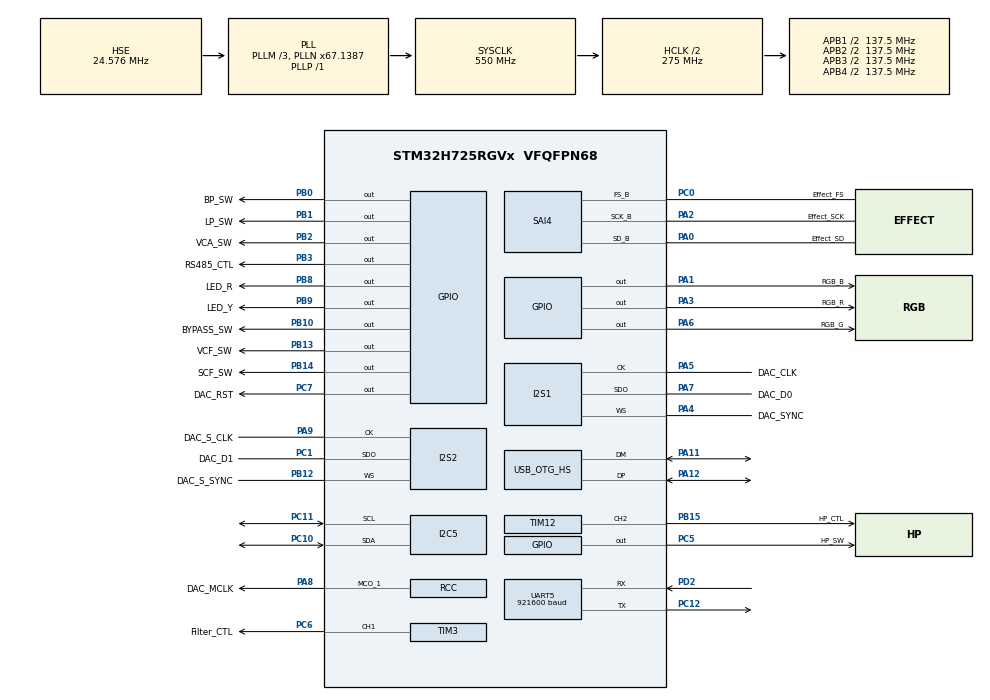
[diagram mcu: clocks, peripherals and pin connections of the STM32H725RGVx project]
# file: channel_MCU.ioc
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CORTEX_M7.default_mode_Activation=1
Dma.Request0=SPI1_TX
Dma.Request1=SPI2_TX
Dma.SPI1_TX.0.Direction=DMA_MEMORY_TO_PERIPH
Dma.SPI1_TX.0.EventEnable=DISABLE
Dma.SPI1_TX.0.FIFOMode=DMA_FIFOMODE_DISABLE
Dma.SPI1_TX.0.Instance=DMA1_Stream0
Dma.SPI1_TX.0.MemDataAlignment=DMA_MDATAALIGN_WORD
Dma.SPI1_TX.0.MemInc=DMA_MINC_ENABLE
Dma.SPI1_TX.0.Mode=DMA_CIRCULAR
Dma.SPI1_TX.0.PeriphDataAlignment=DMA_PDATAALIGN_WORD
Dma.SPI1_TX.0.PeriphInc=DMA_PINC_DISABLE
Dma.SPI1_TX.0.Polarity=HAL_DMAMUX_REQ_GEN_RISING
Dma.SPI1_TX.0.Priority=DMA_PRIORITY_LOW
Dma.SPI1_TX.0.RequestNumber=1
Dma.SPI1_TX.0.SignalID=NONE
Dma.SPI1_TX.0.SyncEnable=DISABLE
Dma.SPI1_TX.0.SyncPolarity=HAL_DMAMUX_SYNC_NO_EVENT
Dma.SPI1_TX.0.SyncRequestNumber=1
Dma.SPI1_TX.0.SyncSignalID=NONE
Dma.SPI2_TX.1.Direction=DMA_MEMORY_TO_PERIPH
Dma.SPI2_TX.1.EventEnable=DISABLE
Dma.SPI2_TX.1.FIFOMode=DMA_FIFOMODE_DISABLE
Dma.SPI2_TX.1.Instance=DMA1_Stream1
Dma.SPI2_TX.1.MemDataAlignment=DMA_MDATAALIGN_WORD
Dma.SPI2_TX.1.MemInc=DMA_MINC_ENABLE
Dma.SPI2_TX.1.Mode=DMA_CIRCULAR
Dma.SPI2_TX.1.PeriphDataAlignment=DMA_PDATAALIGN_WORD
Dma.SPI2_TX.1.PeriphInc=DMA_PINC_DISABLE
Dma.SPI2_TX.1.Polarity=HAL_DMAMUX_REQ_GEN_RISING
Dma.SPI2_TX.1.Priority=DMA_PRIORITY_LOW
Dma.SPI2_TX.1.RequestNumber=1
Dma.SPI2_TX.1.SignalID=NONE
Dma.SPI2_TX.1.SyncEnable=DISABLE
Dma.SPI2_TX.1.SyncPolarity=HAL_DMAMUX_SYNC_NO_EVENT
Dma.SPI2_TX.1.SyncRequestNumber=1
Dma.SPI2_TX.1.SyncSignalID=NONE
I2C5.Timing=0x60404E72
I2S1.AudioFreq=I2S_AUDIOFREQ_48K
I2S1.DataFormat=I2S_DATAFORMAT_32B
I2S1.ErrorAudioFreq=0.0 %
I2S1.Instance=SPI$Index
I2S1.RealAudioFreq=48.0 KHz
I2S2.AudioFreq=I2S_AUDIOFREQ_48K
I2S2.DataFormat=I2S_DATAFORMAT_32B
I2S2.ErrorAudioFreq=0.0 %
I2S2.Instance=SPI$Index
I2S2.RealAudioFreq=48.0 KHz
Mcu.Family=STM32H7
Mcu.Name=STM32H725RGVx
Mcu.Package=VFQFPN68
NVIC.DMA1_Stream0_IRQn=true\:0\:0\:false\:false\:true\:false\:true\:true
NVIC.DMA1_Stream1_IRQn=true\:0\:0\:false\:false\:true\:false\:true\:true
NVIC.OTG_HS_IRQn=true\:0\:0\:false\:false\:true\:true\:true\:true
NVIC.PriorityGroup=NVIC_PRIORITYGROUP_4
PA0.GPIO_Label=Effect_SD
PA0.Mode=SAI_B_AsyncSlave
PA0.Signal=SAI4_SD_B
PA1.GPIO_Label=RGB_B
PA1.Signal=GPIO_Output
PA11.Mode=Device_Only_FS
PA11.Signal=USB_OTG_HS_DM
PA12.Mode=Device_Only_FS
PA12.Signal=USB_OTG_HS_DP
PA2.GPIO_Label=Effect_SCK
PA2.Mode=SAI_B_AsyncSlave
PA2.Signal=SAI4_SCK_B
PA3.GPIO_Label=RGB_R
PA3.Signal=GPIO_Output
PA4.GPIO_Label=DAC_SYNC
PA4.GPIO_Speed=GPIO_SPEED_FREQ_HIGH
PA4.Mode=Half_Duplex_Master_Tx
PA4.Signal=I2S1_WS
PA5.GPIO_Label=DAC_CLK
PA5.GPIO_Speed=GPIO_SPEED_FREQ_HIGH
PA5.Mode=Half_Duplex_Master_Tx
PA5.Signal=I2S1_CK
PA6.GPIO_Label=RGB_G
PA6.Signal=GPIO_Output
PA7.GPIO_Label=DAC_D0
PA7.GPIO_Speed=GPIO_SPEED_FREQ_HIGH
PA7.Mode=Half_Duplex_Master_Tx
PA7.Signal=I2S1_SDO
PA8.GPIO_Label=DAC_MCLK
PA8.GPIO_Speed=GPIO_SPEED_FREQ_VERY_HIGH
PA8.Mode=Clock-out-1
PA8.Signal=RCC_MCO_1
PA9.GPIO_Label=DAC_S_CLK
PA9.Mode=Half_Duplex_Slave_Tx
PA9.Signal=I2S2_CK
PB0.GPIO_Label=BP_SW
PB0.Signal=GPIO_Output
PB1.GPIO_Label=LP_SW
PB1.Signal=GPIO_Output
PB10.GPIO_Label=BYPASS_SW
PB10.Signal=GPIO_Output
PB12.GPIO_Label=DAC_S_SYNC
PB12.Mode=Half_Duplex_Slave_Tx
PB12.Signal=I2S2_WS
PB13.GPIO_Label=VCF_SW
PB13.Signal=GPIO_Output
PB14.GPIO_Label=SCF_SW
PB14.Signal=GPIO_Output
PB15.GPIO_Label=HP_CTL
PB15.Signal=S_TIM12_CH2
PB2.GPIO_Label=VCA_SW
PB2.Signal=GPIO_Output
PB3(JTDO/TRACESWO).GPIO_Label=RS485_CTL
PB3(JTDO/TRACESWO).Signal=GPIO_Output
PB8.GPIO_Label=LED_R
PB8.Signal=GPIO_Output
PB9.GPIO_Label=LED_Y
PB9.Signal=GPIO_Output
PC0.GPIO_Label=Effect_FS
PC0.Mode=SAI_B_AsyncSlave
PC0.Signal=SAI4_FS_B
PC1.GPIO_Label=DAC_D1
PC1.GPIO_Speed=GPIO_SPEED_FREQ_HIGH
PC1.Mode=Half_Duplex_Slave_Tx
PC1.Signal=I2S2_SDO
PC10.Mode=I2C
PC10.Signal=I2C5_SDA
PC11.Mode=I2C
PC11.Signal=I2C5_SCL
PC12.Mode=Asynchronous
PC12.Signal=UART5_TX
PC5.GPIO_Label=HP_SW
PC5.Signal=GPIO_Output
PC6.GPIO_Label=Filter_CTL
PC6.Signal=S_TIM3_CH1
PC7.GPIO_Label=DAC_RST
PC7.Signal=GPIO_Output
PD2.Mode=Asynchronous
PD2.Signal=UART5_RX
PH0-OSC_IN.Mode=HSE-External-Clock-Source
PH0-OSC_IN.Signal=RCC_OSC_IN
ProjectManager.HeapSize=0x200
ProjectManager.StackSize=0x400
ProjectManager.TargetToolchain=CMake
RCC.ADCFreq_Value=49920000
RCC.APB1Freq_Value=137500000
RCC.APB2Freq_Value=137500000
RCC.APB3Freq_Value=137500000
RCC.APB4Freq_Value=137500000
RCC.CKPERSourceSelection=RCC_CLKPSOURCE_HSE
RCC.CortexFreq_Value=550000000
RCC.D1PPRE=RCC_APB3_DIV2
RCC.D2PPRE1=RCC_APB1_DIV2
RCC.D2PPRE2=RCC_APB2_DIV2
RCC.D3PPRE=RCC_APB4_DIV2
RCC.DIVM1=3
RCC.DIVM2=4
RCC.DIVM3=4
RCC.DIVN1=67
RCC.DIVN2=130
RCC.DIVN3=125
RCC.DIVP1=1
RCC.DIVP2=16
RCC.DIVP3=16
RCC.DIVQ1=10
RCC.DIVQ2=8
RCC.DIVQ3=8
RCC.DIVR2=4
RCC.DIVR3=8
RCC.EXTERNAL_CLOCK_VALUE=24576000
RCC.HCLKFreq_Value=275000000
RCC.HPRE=RCC_HCLK_DIV2
RCC.HSE_VALUE=24576000
RCC.PLL2FRACN=0
RCC.PLL3FRACN=0
RCC.PLLFRACN=1136
RCC.PLLSourceVirtual=RCC_PLLSOURCE_HSE
RCC.RCC_MCO1Source=RCC_MCO1SOURCE_HSE
RCC.SAI4BCLockSelection=RCC_SAI4BCLKSOURCE_CLKP
RCC.SPI123CLockSelection=RCC_SPI123CLKSOURCE_CLKP
RCC.SYSCLKFreq_VALUE=550000000
RCC.SYSCLKSource=RCC_SYSCLKSOURCE_PLLCLK
RCC.USBCLockSelection=RCC_USBCLKSOURCE_HSI48
RCC.USBFreq_Value=48000000
SAI4.AudioMode-SAI_B_AsyncSlave=SAI_MODESLAVE_TX
SAI4.Instance-SAI_B_AsyncSlave=SAI$Index_Block_B
SAI4.VirtualMode-SAI_B_AsyncSlave=VM_SLAVE
SH.S_TIM12_CH2.0=TIM12_CH2,PWM Generation2 CH2
SH.S_TIM3_CH1.0=TIM3_CH1,PWM Generation1 CH1
TIM12.Channel-PWM\ Generation2\ CH2=TIM_CHANNEL_2
TIM3.Channel-PWM\ Generation1\ CH1=TIM_CHANNEL_1
UART5.BaudRate=921600
USB_OTG_HS.VirtualMode=Device_Only_FS
VP_MEMORYMAP_VS_MEMORYMAP.Mode=CurAppReg
board=custom

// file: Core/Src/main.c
/* USER CODE BEGIN Header */
/**
 ******************************************************************************
 * @file           : main.c
 * @brief          : Main program body
 ******************************************************************************
 * @attention
 *
 * Copyright (c) 2026 STMicroelectronics.
 * All rights reserved.
 *
 * This software is licensed under terms that can be found in the LICENSE file
 * in the root directory of this software component.
 * If no LICENSE file comes with this software, it is provided AS-IS.
 *
 ******************************************************************************
 */
/* USER CODE END Header */
#include "main.h"
#include "dma.h"
#include "i2c.h"
#include "i2s.h"
#include "sai.h"
#include "tim.h"
#include "usart.h"
#include "usb_otg.h"
#include "gpio.h"

/* USER CODE BEGIN Includes */
#include "cs4304.h"
#include "tim.h"
#include "usart.h"
#include "audio_bridge.h"
#include "channel_console.h"
#include "usb_app.h"
/* USER CODE END Includes */

/* USER CODE BEGIN PV */

/* CS4304 DAC handle — owned here; bound into bridge + console after Init. */
CS4304_HandleTypeDef hcs4304;

/* USER CODE END PV */

void SystemClock_Config(void);
void PeriphCommonClock_Config(void);
static void MPU_Config(void);

/* USER CODE BEGIN 0 */

/* Console / RS485 / LED chaser live in channel_console.c */

/* USER CODE END 0 */

int main(void)
{

  /* USER CODE BEGIN 1 */
  /* I-cache keeps the NoteBank refill within the 1 ms I2S DMA callback
   * budget. I-cache only: D-cache requires non-cacheable MPU regions for
   * DMA buffers, which this MPU configuration does not provide. */
  SCB_EnableICache();
  /* USER CODE END 1 */

  /* MPU Configuration--------------------------------------------------------*/
  MPU_Config();

  /* MCU Configuration--------------------------------------------------------*/

  /* Reset of all peripherals, Initializes the Flash interface and the Systick. */
  HAL_Init();

  /* Configure the system clock */
  SystemClock_Config();

  /* Configure the peripherals common clocks */
  PeriphCommonClock_Config();

  /* Initialize all configured peripherals */
  MX_GPIO_Init();
  MX_DMA_Init();
  MX_I2C5_Init();
  MX_SAI4_Init();
  MX_TIM3_Init();
  MX_TIM12_Init();
  MX_UART5_Init();
  MX_I2S1_Init();
  MX_I2S2_Init();
  MX_USB_OTG_HS_PCD_Init();
  /* USER CODE BEGIN 2 */

  /* Custom CDC device uses the generated HAL PCD and embedded Full-Speed PHY. */
  USB_App_Init();

  /* --- Power-on status sequence: flash fixed red/yellow LEDs only.
   * The RGB package is reserved for VM scripts and stays off at boot. --- */
  {
    const GPIO_TypeDef *led_ports[] = {LED_R_GPIO_Port, LED_Y_GPIO_Port};
    const uint16_t led_pins[] = {LED_R_Pin, LED_Y_Pin};
    const uint8_t num_leds = 2;

    for (uint8_t i = 0; i < num_leds; i++)
    {
      HAL_GPIO_WritePin((GPIO_TypeDef *)led_ports[i], led_pins[i],
                        GPIO_PIN_SET);
      HAL_Delay(150);
      HAL_GPIO_WritePin((GPIO_TypeDef *)led_ports[i], led_pins[i],
                        GPIO_PIN_RESET);
    }
  }

  /* Initialize CS4304S DAC via I2C5.
   * CONFIG5 0R to GND -> I2C address 0x60 (DS1388F1 Table 4-17); the driver
   * falls back to a bus scan if that address does not ACK.
   * NON-FATAL: the channel-1 USB playback test must run even if the DAC
   * I2C link is down (LED_R stays on solid as an error indicator). */
  hcs4304.hi2c = &hi2c5;
  hcs4304.DevAddr = CS4304_I2C_ADDR_C5_GND_0R;

  if (CS4304_Init(&hcs4304) != HAL_OK)
  {
    HAL_GPIO_WritePin(LED_R_GPIO_Port, LED_R_Pin, GPIO_PIN_SET);
  }

  /* CH1 carries the note mix; CH2-CH4 carry control voltages. */
  hcs4304.MasterMask = 0x01;
  CS4304_SetVolume(&hcs4304, hcs4304.Volume); /* re-apply with the mask */

  /* Bind DAC handle for volume/mute (Audio_Bridge_SetVolume/SetMute). */
  Audio_Bridge_SetDacHandle(&hcs4304);
  ChannelConsole_SetDacHandle(&hcs4304);

  /* DAC timing runs independently of USB traffic and enumeration. */
  Audio_StartPlayback();

  /* Default DC level 0 for CH2-CH4 (true 0 V via the per-channel zero
   * calibration in audio_tone_dc.c) */
  Audio_SetDCLevel(2, 0);
  Audio_SetDCLevel(3, 0);
  Audio_SetDCLevel(4, 0);

  /* MX_TIM12_Init() reconfigured PB15 as TIM12_CH2 AF — override it back
   * to plain GPIO output so hp_ctl stays a GPIO. */
  {
    GPIO_InitTypeDef gi = {0};
    gi.Pin = HP_CTL_Pin;
    gi.Mode = GPIO_MODE_OUTPUT_PP;
    gi.Pull = GPIO_NOPULL;
    gi.Speed = GPIO_SPEED_FREQ_LOW;
    HAL_GPIO_Init(HP_CTL_GPIO_Port, &gi);
    HAL_GPIO_WritePin(HP_CTL_GPIO_Port, HP_CTL_Pin,
                      GPIO_PIN_RESET); /* LOW = hp_ctl off (filter mode) */
  }

  /* filter_ctl (TIM3_CH1, PC6): keep LOW at boot. */

  /* RS485 idle Hi-Z, switch defaults, boot bypass/gain, ready banner. */
  ChannelConsole_Init();

  /* USER CODE END 2 */

  /* Infinite loop */
  while (1)
  {

    /* USER CODE BEGIN 3 */

    USB_App_Task();        /* Binary CDC BODY/uploads */
    ChannelConsole_Poll(); /* RS485 console + LED chaser */
    USB_App_Task();        /* Drain CDC after a console TX */
  }
  /* USER CODE END 3 */
}

void SystemClock_Config(void)
{
  RCC_OscInitTypeDef RCC_OscInitStruct = {0};
  RCC_ClkInitTypeDef RCC_ClkInitStruct = {0};

  /** Supply configuration update enable
   */
  HAL_PWREx_ConfigSupply(PWR_DIRECT_SMPS_SUPPLY);

  /** Configure the main internal regulator output voltage
   */
  __HAL_PWR_VOLTAGESCALING_CONFIG(PWR_REGULATOR_VOLTAGE_SCALE0);

  while (!__HAL_PWR_GET_FLAG(PWR_FLAG_VOSRDY))
  {
  }

  /** Initializes the RCC Oscillators according to the specified parameters
   * in the RCC_OscInitTypeDef structure.
   */
  RCC_OscInitStruct.OscillatorType = RCC_OSCILLATORTYPE_HSI48 | RCC_OSCILLATORTYPE_HSE;
  RCC_OscInitStruct.HSEState = RCC_HSE_BYPASS;
  RCC_OscInitStruct.HSI48State = RCC_HSI48_ON;
  RCC_OscInitStruct.PLL.PLLState = RCC_PLL_ON;
  RCC_OscInitStruct.PLL.PLLSource = RCC_PLLSOURCE_HSE;
  RCC_OscInitStruct.PLL.PLLM = 3;
  RCC_OscInitStruct.PLL.PLLN = 67;
  RCC_OscInitStruct.PLL.PLLP = 1;
  RCC_OscInitStruct.PLL.PLLQ = 10;
  RCC_OscInitStruct.PLL.PLLR = 2;
  RCC_OscInitStruct.PLL.PLLRGE = RCC_PLL1VCIRANGE_3;
  RCC_OscInitStruct.PLL.PLLVCOSEL = RCC_PLL1VCOWIDE;
  RCC_OscInitStruct.PLL.PLLFRACN = 1136;
  if (HAL_RCC_OscConfig(&RCC_OscInitStruct) != HAL_OK)
  {
    Error_Handler();
  }

  /** Initializes the CPU, AHB and APB buses clocks
   */
  RCC_ClkInitStruct.ClockType = RCC_CLOCKTYPE_HCLK | RCC_CLOCKTYPE_SYSCLK | RCC_CLOCKTYPE_PCLK1 | RCC_CLOCKTYPE_PCLK2 | RCC_CLOCKTYPE_D3PCLK1 | RCC_CLOCKTYPE_D1PCLK1;
  RCC_ClkInitStruct.SYSCLKSource = RCC_SYSCLKSOURCE_PLLCLK;
  RCC_ClkInitStruct.SYSCLKDivider = RCC_SYSCLK_DIV1;
  RCC_ClkInitStruct.AHBCLKDivider = RCC_HCLK_DIV2;
  RCC_ClkInitStruct.APB3CLKDivider = RCC_APB3_DIV2;
  RCC_ClkInitStruct.APB1CLKDivider = RCC_APB1_DIV2;
  RCC_ClkInitStruct.APB2CLKDivider = RCC_APB2_DIV2;
  RCC_ClkInitStruct.APB4CLKDivider = RCC_APB4_DIV2;

  if (HAL_RCC_ClockConfig(&RCC_ClkInitStruct, FLASH_LATENCY_3) != HAL_OK)
  {
    Error_Handler();
  }
  HAL_RCC_MCOConfig(RCC_MCO1, RCC_MCO1SOURCE_HSE, RCC_MCODIV_1);
}

void PeriphCommonClock_Config(void)
{
  RCC_PeriphCLKInitTypeDef PeriphClkInitStruct = {0};

  /** Initializes the peripherals clock
   */
  PeriphClkInitStruct.PeriphClockSelection = RCC_PERIPHCLK_CKPER;
  PeriphClkInitStruct.CkperClockSelection = RCC_CLKPSOURCE_HSE;
  if (HAL_RCCEx_PeriphCLKConfig(&PeriphClkInitStruct) != HAL_OK)
  {
    Error_Handler();
  }
}

/* MPU Configuration */

void MPU_Config(void)
{
  MPU_Region_InitTypeDef MPU_InitStruct = {0};

  /* Disables the MPU */
  HAL_MPU_Disable();

  /** Initializes and configures the Region and the memory to be protected
   */
  MPU_InitStruct.Enable = MPU_REGION_ENABLE;
  MPU_InitStruct.Number = MPU_REGION_NUMBER0;
  MPU_InitStruct.BaseAddress = 0x0;
  MPU_InitStruct.Size = MPU_REGION_SIZE_4GB;
  MPU_InitStruct.SubRegionDisable = 0x87;
  MPU_InitStruct.TypeExtField = MPU_TEX_LEVEL0;
  MPU_InitStruct.AccessPermission = MPU_REGION_NO_ACCESS;
  MPU_InitStruct.DisableExec = MPU_INSTRUCTION_ACCESS_DISABLE;
  MPU_InitStruct.IsShareable = MPU_ACCESS_SHAREABLE;
  MPU_InitStruct.IsCacheable = MPU_ACCESS_NOT_CACHEABLE;
  MPU_InitStruct.IsBufferable = MPU_ACCESS_NOT_BUFFERABLE;

  HAL_MPU_ConfigRegion(&MPU_InitStruct);
  /* Enables the MPU */
  HAL_MPU_Enable(MPU_PRIVILEGED_DEFAULT);
}

void Error_Handler(void)
{
  /* USER CODE BEGIN Error_Handler_Debug */
  uint32_t mode_mask;
  uint32_t mode_output;

  /* Fail closed. DMA would otherwise keep replaying its last audio buffer
   * after the CPU stops, so hold the DAC in reset before latching the LEDs. */
  __disable_irq();

  __HAL_RCC_GPIOA_CLK_ENABLE();
  __HAL_RCC_GPIOB_CLK_ENABLE();
  __HAL_RCC_GPIOC_CLK_ENABLE();

  mode_mask = (3u << (1u * 2u)) | (3u << (3u * 2u)) |
              (3u << (6u * 2u));
  mode_output = (1u << (1u * 2u)) | (1u << (3u * 2u)) |
                (1u << (6u * 2u));
  GPIOA->MODER = (GPIOA->MODER & ~mode_mask) | mode_output;
  GPIOA->OTYPER &= ~(RGB_B_Pin | RGB_R_Pin | RGB_G_Pin);

  mode_mask = (3u << (8u * 2u)) | (3u << (9u * 2u));
  mode_output = (1u << (8u * 2u)) | (1u << (9u * 2u));
  GPIOB->MODER = (GPIOB->MODER & ~mode_mask) | mode_output;
  GPIOB->OTYPER &= ~(LED_R_Pin | LED_Y_Pin);

  mode_mask = 3u << (7u * 2u);
  mode_output = 1u << (7u * 2u);
  GPIOC->MODER = (GPIOC->MODER & ~mode_mask) | mode_output;
  GPIOC->OTYPER &= ~DAC_RST_Pin;

  /* Distinct from the normal red/yellow chaser: both fixed LEDs and RGB red
   * stay solid. Green/blue stay off. BSRR writes are atomic and need no HAL. */
  GPIOC->BSRR = (uint32_t)DAC_RST_Pin << 16u;
  GPIOA->BSRR = RGB_R_Pin |
                ((uint32_t)(RGB_G_Pin | RGB_B_Pin) << 16u);
  GPIOB->BSRR = LED_R_Pin | LED_Y_Pin;
  while (1)
  {
    __NOP();
  }
  /* USER CODE END Error_Handler_Debug */
}
#ifdef USE_FULL_ASSERT
/**
 * @brief  Reports the name of the source file and the source line number
 *         where the assert_param error has occurred.
 * @param  file: pointer to the source file name
 * @param  line: assert_param error line source number
 * @retval None
 */
void assert_failed(uint8_t *file, uint32_t line)
{
  /* USER CODE BEGIN 6 */
  (void)file;
  (void)line;
  Error_Handler();
  /* USER CODE END 6 */
}
#endif /* USE_FULL_ASSERT */
